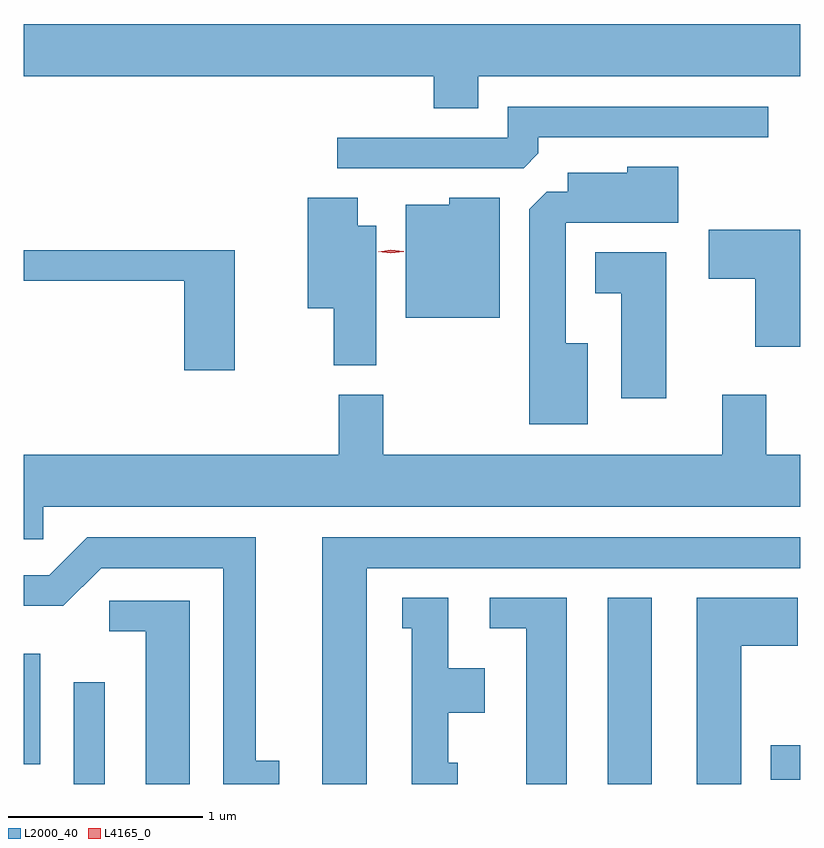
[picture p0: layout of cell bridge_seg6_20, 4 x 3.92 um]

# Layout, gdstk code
import gdstk
lib = gdstk.Library(unit=1e-6, precision=1e-09)
def R(c, l, rs):  # rectangles x0, y0, x1, y1
    for r in rs: c.add(gdstk.rectangle(r[:2], r[2:], *l))
def P(c, l, *ps):  # polygons
    for p in ps: c.add(gdstk.Polygon(p, *l))
L2000_40 = (2000, 40)
L4165_0 = (4165, 0)

bridge_seg6_20 = lib.new_cell('bridge_seg6_20')
R(bridge_seg6_20, L2000_40, [(1835.666,1650.729,1835.824,1651.253), (1838.416,1650.729,1838.644,1651.689), (1839.256,1650.751,1839.408,1650.929), (1835.408,1650.831,1835.494,1651.399)])
P(bridge_seg6_20, L2000_40, [(1837.749,1654.376),(1839.408,1654.376),(1839.408,1654.644),(1835.408,1654.644),(1835.408,1654.376),(1837.521,1654.376),(1837.521,1654.211),(1837.749,1654.211)],
  [(1838.059,1653.977),(1838.059,1654.061),(1839.243,1654.061),(1839.243,1654.219),(1837.901,1654.219),(1837.901,1654.059),(1837.023,1654.059),(1837.023,1653.901),(1837.984,1653.901)],
  [(1838.314,1652.999),(1838.199,1652.999),(1838.199,1653.621),(1838.779,1653.621),(1838.779,1653.909),(1838.516,1653.909),(1838.516,1653.879),(1838.211,1653.879),(1838.211,1653.779),(1838.102,1653.779),(1838.011,1653.689),(1838.011,1652.581),(1838.314,1652.581)],
  [(1837.224,1653.604),(1837.129,1653.604),(1837.129,1653.749),(1836.871,1653.749),(1836.871,1653.181),(1837.006,1653.181),(1837.006,1652.886),(1837.224,1652.886)],
  [(1837.859,1653.749),(1837.601,1653.749),(1837.601,1653.714),(1837.376,1653.714),(1837.376,1653.131),(1837.859,1653.131)],
  [(1839.408,1653.584),(1838.936,1653.584),(1838.936,1653.331),(1839.176,1653.331),(1839.176,1652.981),(1839.408,1652.981)],
  [(1836.494,1653.479),(1835.408,1653.479),(1835.408,1653.321),(1836.236,1653.321),(1836.236,1652.861),(1836.494,1652.861)],
  [(1838.719,1653.469),(1838.351,1653.469),(1838.351,1653.256),(1838.486,1653.256),(1838.486,1652.716),(1838.719,1652.716)],
  [(1835.509,1652.156),(1839.408,1652.156),(1839.408,1652.424),(1839.234,1652.424),(1839.234,1652.734),(1839.006,1652.734),(1839.006,1652.424),(1837.259,1652.424),(1837.259,1652.734),(1837.031,1652.734),(1837.031,1652.424),(1835.408,1652.424),(1835.408,1651.991),(1835.509,1651.991)],
  [(1836.723,1650.849),(1836.604,1650.849),(1836.604,1651.999),(1835.734,1651.999),(1835.539,1651.804),(1835.408,1651.804),(1835.408,1651.646),(1835.612,1651.646),(1835.807,1651.841),(1836.436,1651.841),(1836.436,1650.729),(1836.723,1650.729)],
  [(1837.174,1651.841),(1839.408,1651.841),(1839.408,1651.999),(1836.946,1651.999),(1836.946,1650.729),(1837.174,1650.729)],
  [(1839.104,1651.441),(1839.394,1651.441),(1839.394,1651.689),(1838.876,1651.689),(1838.876,1650.729),(1839.104,1650.729)],
  [(1837.643,1650.839),(1837.594,1650.839),(1837.594,1651.096),(1837.784,1651.096),(1837.784,1651.324),(1837.594,1651.324),(1837.594,1651.689),(1837.358,1651.689),(1837.358,1651.531),(1837.406,1651.531),(1837.406,1650.729),(1837.643,1650.729)],
  [(1838.204,1651.689),(1837.808,1651.689),(1837.808,1651.531),(1837.996,1651.531),(1837.996,1650.729),(1838.204,1650.729)],
  [(1836.264,1651.674),(1835.848,1651.674),(1835.848,1651.516),(1836.036,1651.516),(1836.036,1650.729),(1836.264,1650.729)])
P(bridge_seg6_20, L4165_0, [(1837.299,1653.462),(1837.233,1653.47),(1837.233,1653.471),(1837.233,1653.472),(1837.299,1653.482),(1837.365,1653.473),(1837.366,1653.472),(1837.365,1653.472)])

lib.write_gds('bridge_seg6_20.gds')
